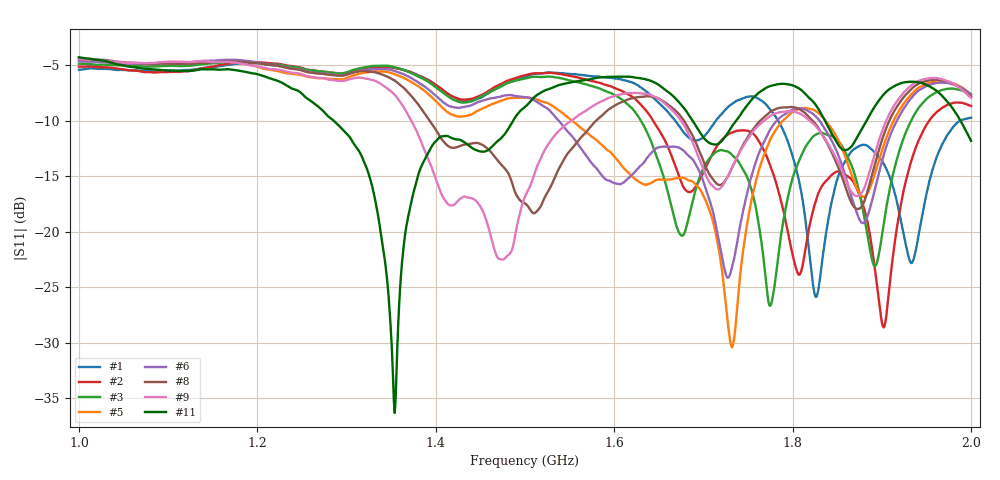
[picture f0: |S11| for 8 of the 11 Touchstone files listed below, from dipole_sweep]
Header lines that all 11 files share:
# GHZ S RI R 50.000000000000
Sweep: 1 GHz to 2 GHz
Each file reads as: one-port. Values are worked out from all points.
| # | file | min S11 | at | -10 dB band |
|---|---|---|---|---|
| 1 | dipole_L20cm_20261104-115938.s1p | -25.9 dB | 1.826 GHz | 203.9 MHz wide |
| 2 | dipole_L21cm_20261104-115957.s1p | -28.6 dB | 1.902 GHz | 309.4 MHz wide |
| 3 | dipole_L22cm_20261104-120005.s1p | -26.7 dB | 1.775 GHz | 302.9 MHz wide |
| 4 | dipole_L23cm_20261104-120016.s1p | -32.8 dB | 1.667 GHz | 213.5 MHz wide |
| 5 | dipole_L24cm_20261104-120038.s1p | -30.4 dB | 1.732 GHz | 236.1 MHz wide |
| 6 | dipole_L25cm_20261104-120058.s1p | -24.1 dB | 1.727 GHz | 244.3 MHz wide |
| 7 | dipole_L26cm_20261104-120115.s1p | -19.1 dB | 1.874 GHz | 235.4 MHz wide |
| 8 | dipole_L27cm_20261104-120136.s1p | -18.3 dB | 1.51 GHz | 186.4 MHz wide |
| 9 | dipole_L28cm_20261104-120154.s1p | -22.5 dB | 1.475 GHz | 179.5 MHz wide |
| 10 | dipole_L29cm_20261104-120210.s1p | -32.3 dB | 1.392 GHz | 177 MHz wide |
| 11 | dipole_L30cm_20261104-120230.s1p | -36.3 dB | 1.354 GHz | 201.1 MHz wide |
